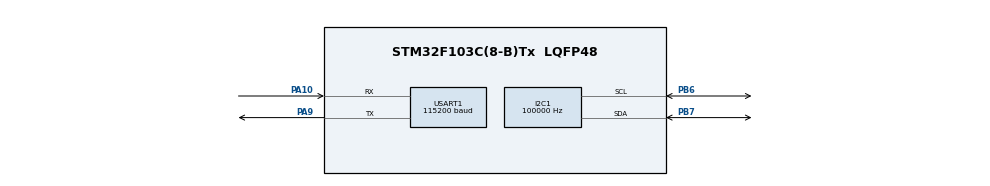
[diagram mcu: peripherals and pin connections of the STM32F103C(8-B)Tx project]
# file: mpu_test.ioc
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I2C1.ClockSpeed=100000
I2C1.I2C_Mode=I2C_Standard
Mcu.Family=STM32F1
Mcu.Name=STM32F103C(8-B)Tx
Mcu.Package=LQFP48
NVIC.I2C1_EV_IRQn=true\:0\:0\:false\:false\:true
NVIC.PriorityGroup=NVIC_PRIORITYGROUP_4
PA10.Mode=Asynchronous
PA10.Signal=USART1_RX
PA13.Mode=Serial_Wire
PA13.Signal=SYS_JTMS-SWDIO
PA14.Mode=Serial_Wire
PA14.Signal=SYS_JTCK-SWCLK
PA9.Mode=Asynchronous
PA9.Signal=USART1_TX
PB6.Mode=I2C
PB6.Signal=I2C1_SCL
PB7.Mode=I2C
PB7.Signal=I2C1_SDA
ProjectManager.HeapSize=0x200
ProjectManager.StackSize=0x400
ProjectManager.TargetToolchain=MDK-ARM V5
RCC.APB1Freq_Value=8000000
RCC.APB2Freq_Value=8000000
USART1.BaudRate=115200
board=mpu_test

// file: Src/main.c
/**
  ******************************************************************************
  * File Name          : main.c
  * Description        : Main program body
  ******************************************************************************
  *
  * COPYRIGHT(c) 2016 STMicroelectronics
  *
  * Redistribution and use in source and binary forms, with or without modification,
  * are permitted provided that the following conditions are met:
  *   1. Redistributions of source code must retain the above copyright notice,
  *      this list of conditions and the following disclaimer.
  *   2. Redistributions in binary form must reproduce the above copyright notice,
  *      this list of conditions and the following disclaimer in the documentation
  *      and/or other materials provided with the distribution.
  *   3. Neither the name of STMicroelectronics nor the names of its contributors
  *      may be used to endorse or promote products derived from this software
  *      without specific prior written permission.
  *
  * THIS SOFTWARE IS PROVIDED BY THE COPYRIGHT HOLDERS AND CONTRIBUTORS "AS IS"
  * AND ANY EXPRESS OR IMPLIED WARRANTIES, INCLUDING, BUT NOT LIMITED TO, THE
  * IMPLIED WARRANTIES OF MERCHANTABILITY AND FITNESS FOR A PARTICULAR PURPOSE ARE
  * DISCLAIMED. IN NO EVENT SHALL THE COPYRIGHT HOLDER OR CONTRIBUTORS BE LIABLE
  * FOR ANY DIRECT, INDIRECT, INCIDENTAL, SPECIAL, EXEMPLARY, OR CONSEQUENTIAL
  * DAMAGES (INCLUDING, BUT NOT LIMITED TO, PROCUREMENT OF SUBSTITUTE GOODS OR
  * SERVICES; LOSS OF USE, DATA, OR PROFITS; OR BUSINESS INTERRUPTION) HOWEVER
  * CAUSED AND ON ANY THEORY OF LIABILITY, WHETHER IN CONTRACT, STRICT LIABILITY,
  * OR TORT (INCLUDING NEGLIGENCE OR OTHERWISE) ARISING IN ANY WAY OUT OF THE USE
  * OF THIS SOFTWARE, EVEN IF ADVISED OF THE POSSIBILITY OF SUCH DAMAGE.
  *
  ******************************************************************************
  */
#include "stm32f1xx_hal.h"

/* USER CODE BEGIN Includes */
#include <stdio.h>
#include <tcp_com.h>
#include <MPU6050.h>
#include <tiny_ekf.h>
#include <rover_gps.h>

/* USER CODE END Includes */

I2C_HandleTypeDef hi2c1;

UART_HandleTypeDef huart1;

/* USER CODE BEGIN PV */
/* Private variables ---------------------------------------------------------*/
imu_data_raw_t data_pack_raw;
imu_data_t data_pack;
/* USER CODE END PV */

void SystemClock_Config(void);
void Error_Handler(void);
static void MX_GPIO_Init(void);
static void MX_I2C1_Init(void);
static void MX_USART1_UART_Init(void);

/* USER CODE BEGIN PFP */
/* Private function prototypes -----------------------------------------------*/

/* USER CODE END PFP */

int main(void){

  /* USER CODE BEGIN 1 */
	char data_str[10];

  /* USER CODE END 1 */

  /* MCU Configuration----------------------------------------------------------*/

  /* Reset of all peripherals, Initializes the Flash interface and the Systick. */
  HAL_Init();

  /* Configure the system clock */
  SystemClock_Config();

  /* Initialize all configured peripherals */
  MX_GPIO_Init();
  MX_I2C1_Init();
  MX_USART1_UART_Init();

  /* USER CODE BEGIN 2 */
	tcp_begin(&huart1, &data_pack_raw);
	imu_begin(&hi2c1, 10000u, IMU_GYRO_RANGE_250, IMU_ACC_RANGE_2);

  /* USER CODE END 2 */

  /* Infinite loop */
  while (1)
  {

  /* USER CODE BEGIN 3 */

		imu_read_data();
		sprintf(data_str, "%3.2f \n", data_pack_raw.imu_data_accY);
		HAL_UART_Transmit(&huart1, data_str, strlen(data_str), 10);
		HAL_Delay(100);

  }
  /* USER CODE END 3 */

}

/** System Clock Configuration
*/
void SystemClock_Config(void)
{

  RCC_OscInitTypeDef RCC_OscInitStruct;
  RCC_ClkInitTypeDef RCC_ClkInitStruct;

  RCC_OscInitStruct.OscillatorType = RCC_OSCILLATORTYPE_HSI;
  RCC_OscInitStruct.HSIState = RCC_HSI_ON;
  RCC_OscInitStruct.HSICalibrationValue = 16;
  RCC_OscInitStruct.PLL.PLLState = RCC_PLL_NONE;
  if (HAL_RCC_OscConfig(&RCC_OscInitStruct) != HAL_OK)
  {
    Error_Handler();
  }

  RCC_ClkInitStruct.ClockType = RCC_CLOCKTYPE_HCLK|RCC_CLOCKTYPE_SYSCLK
                              |RCC_CLOCKTYPE_PCLK1|RCC_CLOCKTYPE_PCLK2;
  RCC_ClkInitStruct.SYSCLKSource = RCC_SYSCLKSOURCE_HSI;
  RCC_ClkInitStruct.AHBCLKDivider = RCC_SYSCLK_DIV1;
  RCC_ClkInitStruct.APB1CLKDivider = RCC_HCLK_DIV1;
  RCC_ClkInitStruct.APB2CLKDivider = RCC_HCLK_DIV1;
  if (HAL_RCC_ClockConfig(&RCC_ClkInitStruct, FLASH_LATENCY_0) != HAL_OK)
  {
    Error_Handler();
  }

  HAL_SYSTICK_Config(HAL_RCC_GetHCLKFreq()/1000);

  HAL_SYSTICK_CLKSourceConfig(SYSTICK_CLKSOURCE_HCLK);

  /* SysTick_IRQn interrupt configuration */
  HAL_NVIC_SetPriority(SysTick_IRQn, 0, 0);
}

/* I2C1 init function */
static void MX_I2C1_Init(void)
{

  hi2c1.Instance = I2C1;
  hi2c1.Init.ClockSpeed = 100000;
  hi2c1.Init.DutyCycle = I2C_DUTYCYCLE_2;
  hi2c1.Init.OwnAddress1 = 0;
  hi2c1.Init.AddressingMode = I2C_ADDRESSINGMODE_7BIT;
  hi2c1.Init.DualAddressMode = I2C_DUALADDRESS_DISABLE;
  hi2c1.Init.OwnAddress2 = 0;
  hi2c1.Init.GeneralCallMode = I2C_GENERALCALL_DISABLE;
  hi2c1.Init.NoStretchMode = I2C_NOSTRETCH_DISABLE;
  if (HAL_I2C_Init(&hi2c1) != HAL_OK)
  {
    Error_Handler();
  }

}

/* USART1 init function */
static void MX_USART1_UART_Init(void)
{

  huart1.Instance = USART1;
  huart1.Init.BaudRate = 115200;
  huart1.Init.WordLength = UART_WORDLENGTH_8B;
  huart1.Init.StopBits = UART_STOPBITS_1;
  huart1.Init.Parity = UART_PARITY_NONE;
  huart1.Init.Mode = UART_MODE_TX_RX;
  huart1.Init.HwFlowCtl = UART_HWCONTROL_NONE;
  huart1.Init.OverSampling = UART_OVERSAMPLING_16;
  if (HAL_UART_Init(&huart1) != HAL_OK)
  {
    Error_Handler();
  }

}

/** Configure pins as
        * Analog
        * Input
        * Output
        * EVENT_OUT
        * EXTI
*/
static void MX_GPIO_Init(void)
{

  /* GPIO Ports Clock Enable */
  __HAL_RCC_GPIOA_CLK_ENABLE();
  __HAL_RCC_GPIOB_CLK_ENABLE();

}

/* USER CODE BEGIN 4 */

void HAL_I2C_MemRxCpltCallback(I2C_HandleTypeDef *hi2c)
{
	imu_rx_cplt_callback();
}

void imu_data_ready_callback(imu_data_raw_t data_raw, imu_data_t data)
{
	data_pack_raw = data_raw;
	data_pack = data;
}

/* USER CODE END 4 */

void Error_Handler(void)
{
  while(1)
  {
  }
}

/************************ (C) COPYRIGHT STMicroelectronics *****END OF FILE****/
